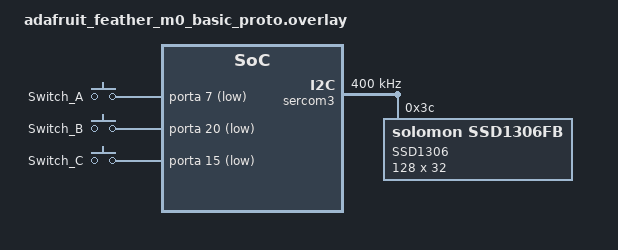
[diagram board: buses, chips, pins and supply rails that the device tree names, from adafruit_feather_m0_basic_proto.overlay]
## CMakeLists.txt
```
# SPDX-License-Identifier: Apache-2.0

cmake_minimum_required(VERSION 3.13.1)

set_property(GLOBAL APPEND PROPERTY HEX_FILES_TO_MERGE
      ${app_provision_hex})

set(BOARD adafruit_feather_m0_basic_proto)

include($ENV{ZEPHYR_BASE}/cmake/app/boilerplate.cmake NO_POLICY_SCOPE)
project(samd21)

include_directories(app PRIVATE inc)

FILE(GLOB app_sources src/*.c)
target_sources(app PRIVATE
  ${app_sources}
  )

# zephyr_compile_options(-save-temps)
```

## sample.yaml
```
sample:
  description: TBD
  name: TBD
```

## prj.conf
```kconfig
CONFIG_DEBUG=y
CONFIG_GPIO=y

CONFIG_HEAP_MEM_POOL_SIZE=4096

CONFIG_BUILD_OUTPUT_HEX=y

CONFIG_ADC=y
CONFIG_ADC_LOG_LEVEL_INF=y
CONFIG_ADC_SAM0=y

CONFIG_I2C=y
CONFIG_I2C_SAM0=y
CONFIG_I2C_INIT_PRIORITY=60
CONFIG_I2C_LOG_LEVEL_INF=y
CONFIG_I2C_SAM0=y

CONFIG_DISPLAY=y
CONFIG_DISPLAY_LOG_LEVEL_INF=y

CONFIG_SSD1306=y
CONFIG_SSD1306_DEFAULT_CONTRAST=128
CONFIG_SSD1306_DEFAULT=y

CONFIG_CHARACTER_FRAMEBUFFER=y
CONFIG_CHARACTER_FRAMEBUFFER_USE_DEFAULT_FONTS=y
CONFIG_CFB_LOG_LEVEL_INF=y

CONFIG_USE_SEGGER_RTT=y
CONFIG_SEGGER_RTT_MAX_NUM_UP_BUFFERS=3
CONFIG_SEGGER_RTT_MAX_NUM_DOWN_BUFFERS=3
CONFIG_SEGGER_RTT_BUFFER_SIZE_UP=1024
CONFIG_SEGGER_RTT_BUFFER_SIZE_DOWN=16
CONFIG_SEGGER_RTT_PRINTF_BUFFER_SIZE=64
CONFIG_SEGGER_RTT_MODE_NO_BLOCK_SKIP=y

CONFIG_LOG=y
CONFIG_LOG_DEFAULT_LEVEL=3
CONFIG_LOG_OVERRIDE_LEVEL=0
CONFIG_LOG_MAX_LEVEL=4
CONFIG_LOG_FUNC_NAME_PREFIX_DBG=y
CONFIG_LOG_PRINTK=y
CONFIG_LOG_PRINTK_MAX_STRING_LENGTH=128
CONFIG_LOG_MODE_OVERFLOW=y
CONFIG_LOG_PROCESS_TRIGGER_THRESHOLD=10
CONFIG_LOG_PROCESS_THREAD=y
CONFIG_LOG_PROCESS_THREAD_SLEEP_MS=1000
CONFIG_LOG_PROCESS_THREAD_STACK_SIZE=768
CONFIG_LOG_BUFFER_SIZE=1024
CONFIG_LOG_DETECT_MISSED_STRDUP=y
CONFIG_LOG_STRDUP_MAX_STRING=32
CONFIG_LOG_STRDUP_BUF_COUNT=4
CONFIG_LOG_DOMAIN_ID=0
CONFIG_LOG_BACKEND_UART=y

CONFIG_LOG_BACKEND_RTT=y
CONFIG_LOG_BACKEND_RTT_MODE_BLOCK=y
CONFIG_LOG_BACKEND_RTT_OUTPUT_BUFFER_SIZE=16
CONFIG_LOG_BACKEND_RTT_RETRY_CNT=4
CONFIG_LOG_BACKEND_RTT_RETRY_DELAY_MS=5
CONFIG_LOG_BACKEND_RTT_BUFFER=0
CONFIG_LOG_BACKEND_SHOW_COLOR=y
CONFIG_LOG_BACKEND_FORMAT_TIMESTAMP=y

CONFIG_LOG_BACKEND_SHOW_COLOR=n
```

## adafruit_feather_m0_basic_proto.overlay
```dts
/* 
 *  adafruit_feather_m0_basic_proto modifications
 */

/ {

    aliases {
        swa  = &sw_a;
        swb  = &sw_b;
        swc  = &sw_c;
    };

    buttons {
        compatible = "gpio-keys";
        sw_a: sw_0 {
            gpios = <&porta 7 (GPIO_PULL_UP | GPIO_ACTIVE_LOW)>;
            label = "Switch_A";
        };
        sw_b: sw_1 {
            gpios = <&porta 20 (GPIO_PULL_UP | GPIO_ACTIVE_LOW)>;
            label = "Switch_B";
        };
        sw_c: sw_2 {
            gpios = <&porta 15 (GPIO_PULL_UP | GPIO_ACTIVE_LOW)>;
            label = "Switch_C";
        };  
    };      
};

&sercom3 {
    status = "okay";
    compatible = "atmel,sam0-i2c";
    clock-frequency = <I2C_BITRATE_FAST>;
    label = "I2C_0";
    #address-cells = <1>;
    #size-cells = <0>;

    ssd1306: ssd1306@3c {
        compatible = "solomon,ssd1306fb";
        reg = <0x3c>;
        label = "SSD1306";
        height = <32>;
        width  = <128>;
        segment-offset  = <0>;
        page-offset     = <0>;
        display-offset  = <0x00>;
        multiplex-ratio = <0x1F>;
        prechargep      = <0xF1>;
        segment-remap;
        com-invdir;
        com-sequential;
    };
};

/*
 *   Override flash0 to exclude boot_partition.
 */

/delete-node/ &boot_partition;
/delete-node/ &code_partition;

&flash0 {
    partitions {
        compatible = "fixed-partitions";
        #address-cells = <1>;
        #size-cells = <1>;

        code_partition: partition@0 {
            label = "code";
            reg = <0x0000 0x3A000>;
            read-only;
        };
    };
};
```

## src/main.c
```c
/* 
 *  main.c - Application main entry point 
 */
#include <zephyr.h>
#include <sys/printk.h>

#include "buttons.h"
#include "display.h"

#include <logging/log.h>
LOG_MODULE_REGISTER(main, 3);

#define STACKSIZE 1024
#define PRIORITY 7

/*---------------------------------------------------------------------------*/
/*                                                                           */
/*---------------------------------------------------------------------------*/
void main_thread(void * id, void * unused1, void * unused2)
{
    LOG_INF("%s", __func__);

    buttons_init();

    display_init();
    display_play();
}

K_THREAD_DEFINE(main_id, STACKSIZE, main_thread, 
                NULL, NULL, NULL, PRIORITY, 0, 0);
```

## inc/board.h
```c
/*
 *  board.h
 */
#ifndef __INC_BOARD_H
#define __INC_BOARD_H

#define EXT_RST_GPIO_PIN     1
#define EXT_AREF_GPIO_PIN    3
#define EXT_GND1_GPIO_PIN    4
#define EXT_A0_GPIO_PIN      5
#define EXT_A1_GPIO_PIN      6
#define EXT_A2_GPIO_PIN      21
#define EXT_A3_GPIO_PIN      8
#define EXT_A4_GPIO_PIN      9
#define EXT_A5_GPIO_PIN     10
#define EXT_SCK_GPIO_PIN    11
#define EXT_MOSI_GPIO_PIN   12
#define EXT_MISO_GPIO_PIN   13
#define EXT_RXD_GPIO_PIN    14
#define EXT_TXD_GPIO_PIN    19
#define EXT_D4_GPIO_PIN     16
#define EXT_SDA_GPIO_PIN    17
#define EXT_SCL_GPIO_PIN    18
#define EXT_D5_GPIO_PIN     15
#define EXT_D6_GPIO_PIN     20
#define EXT_D9_GPIO_PIN     7
#define EXT_D10_GPIO_PIN    22
#define EXT_D11_GPIO_PIN    23
#define EXT_D12_GPIO_PIN    24
#define EXT_D13_GPIO_PIN    25
#define EXT_VUSB_GPIO_PIN   26
#define EXT_EN_GPIO_PIN     27

#define SW_GPIO_NAME        DT_LABEL(DT_ALIAS(port_a))

#endif /* __INC_BOARD_H */
```

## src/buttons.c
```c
/*
 *   buttons.c
 */
#include <zephyr.h>
#include <device.h>
#include <drivers/gpio.h>
#include <sys/util.h>
#include <sys/printk.h>
#include <inttypes.h>

#include "board.h"

#include <logging/log.h>
LOG_MODULE_REGISTER(buttons, 3);

/*---------------------------------------------------------------------------*/
/*                                                                           */
/*---------------------------------------------------------------------------*/

#define SW_A   DT_GPIO_PIN(DT_ALIAS(swa), gpios)
#define SW_B   DT_GPIO_PIN(DT_ALIAS(swb), gpios)
#define SW_C   DT_GPIO_PIN(DT_ALIAS(swc), gpios)

/*---------------------------------------------------------------------------*/
/*                                                                           */
/*---------------------------------------------------------------------------*/

typedef struct {
    uint8_t    id;
    uint8_t    pin;
    uint32_t   bit;
    char  * name;
} button_info_t; 

static const button_info_t button_info [] = {
    { .id = 1, .pin = SW_A, .bit = 0x00000080, .name = "SW_A" },
    { .id = 2, .pin = SW_B, .bit = 0x00100000, .name = "SW_B" },
    { .id = 3, .pin = SW_C, .bit = 0x00008000, .name = "SW_C" },
};
#define BUTTONS_COUNT (sizeof(button_info)/sizeof(button_info_t))

static const button_info_t unknown = {.id=0, .pin=0 , .bit= 0, .name= "???"};

/*---------------------------------------------------------------------------*/
/*                                                                           */
/*---------------------------------------------------------------------------*/
static const struct device * gpiob;
static struct gpio_callback gpio_cb_a;
static struct gpio_callback gpio_cb_b;
static struct gpio_callback gpio_cb_c;

/*---------------------------------------------------------------------------*/
/*                                                                           */
/*---------------------------------------------------------------------------*/
static const button_info_t * button_get_info(uint32_t pins)
{
    for (int i=0; i < BUTTONS_COUNT; i++) {
        if (button_info[i].bit & pins) {
            return &button_info[i];
        }
    }
    return &unknown;
}

/*---------------------------------------------------------------------------*/
/*                                                                           */
/*---------------------------------------------------------------------------*/
void button_event(const struct device * gpiob, struct gpio_callback * cb, uint32_t pins)
{
    static const button_info_t * info;

    info = button_get_info(pins);

    LOG_INF("Button: %s  pin(%d)", info->name, info->pin);
}

/*---------------------------------------------------------------------------*/
/*                                                                           */
/*---------------------------------------------------------------------------*/
void buttons_init(void)
{
    LOG_INF("%s", __func__);

    gpiob = device_get_binding(SW_GPIO_NAME);
    if (!gpiob) {
        LOG_ERR("error");
        return;
    }

    /* Init Button Interrupt */
    int flags = (GPIO_INPUT      |
                 GPIO_ACTIVE_LOW |
                 GPIO_PULL_UP    |
                 GPIO_INT_EDGE);

    gpio_pin_configure(gpiob, SW_A, flags);
    gpio_pin_configure(gpiob, SW_B, flags);
    gpio_pin_configure(gpiob, SW_C, flags);

    gpio_pin_interrupt_configure(gpiob, SW_A, GPIO_INT_EDGE_TO_ACTIVE);
    gpio_pin_interrupt_configure(gpiob, SW_B, GPIO_INT_EDGE_TO_ACTIVE);
    gpio_pin_interrupt_configure(gpiob, SW_C, GPIO_INT_EDGE_TO_ACTIVE);

    gpio_init_callback(&gpio_cb_a, button_event, BIT(SW_A));
    gpio_init_callback(&gpio_cb_b, button_event, BIT(SW_B));
    gpio_init_callback(&gpio_cb_c, button_event, BIT(SW_C));

    gpio_add_callback(gpiob, &gpio_cb_a);
    gpio_add_callback(gpiob, &gpio_cb_b);
    gpio_add_callback(gpiob, &gpio_cb_c);
}
```

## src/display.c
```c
/*
 * Copyright (c) 2018 PHYTEC Messtechnik GmbH
 *
 * SPDX-License-Identifier: Apache-2.0
 */
#include <zephyr.h>
#include <device.h>
#include <display/cfb.h>
#include <stdio.h>

#include <logging/log.h>
LOG_MODULE_REGISTER(display, 3);

#define DISPLAY_DRIVER      DT_LABEL(DT_INST(0, solomon_ssd1306fb))

#define MAX_FONTS  42

#define SELECTED_FONT_INDEX  0

static const struct device * dev;
static uint16_t rows;
static uint8_t ppt;
static uint8_t font_width;
static uint8_t font_height;

/*---------------------------------------------------------------------------*/
/*                                                                           */
/*---------------------------------------------------------------------------*/
void display_play(void) 
{
    if (rows == 0) return;

    while (1) {

        for (int i = 0; i < rows; i++) {
            
            cfb_framebuffer_clear(dev, false);

            if (cfb_print(dev, "0123456789mMgj!\"§$%&/()=", 0, i * ppt)) {
                LOG_ERR("Failed to print a string");
                continue;
            }

            cfb_framebuffer_finalize(dev);
            
            k_sleep(K_MSEC(200));
        }
    }
}

/*---------------------------------------------------------------------------*/
/*                                                                           */
/*---------------------------------------------------------------------------*/
void display_init(void)
{
    dev = device_get_binding(DISPLAY_DRIVER);

    if (dev == NULL) {
        LOG_ERR("Device not found: %s", DISPLAY_DRIVER);
        return;
    }

    if (display_set_pixel_format(dev, PIXEL_FORMAT_MONO10) != 0) {
        LOG_ERR("Failed to set required pixel format");
        return;
    }

    LOG_INF("Initialized %s", DISPLAY_DRIVER);

    if (cfb_framebuffer_init(dev)) {
        LOG_INF("Framebuffer initialization failed!");
        return;
    }

    cfb_framebuffer_clear(dev, true);

    display_blanking_off(dev);

    rows = cfb_get_display_parameter(dev, CFB_DISPLAY_ROWS);
    ppt  = cfb_get_display_parameter(dev, CFB_DISPLAY_PPT);

    for (int idx = 0; idx < MAX_FONTS; idx++) {

        if (cfb_get_font_size(dev, idx, &font_width, &font_height)) {
            break;  // end of font list, so exit loop.
        }

        LOG_INF("index[%d] font width %d, font height %d",
                idx, font_width, font_height);
    }

    cfb_framebuffer_set_font(dev, SELECTED_FONT_INDEX);

    LOG_INF("selected font: index[%d]", SELECTED_FONT_INDEX);

    LOG_INF("x_res %d, y_res %d, ppt %d, rows %d, cols %d",
            cfb_get_display_parameter(dev, CFB_DISPLAY_WIDTH),
            cfb_get_display_parameter(dev, CFB_DISPLAY_HEIGH),
            ppt,
            rows,
            cfb_get_display_parameter(dev, CFB_DISPLAY_COLS));
}
```

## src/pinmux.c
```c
/*
 * Copyright (c) 2018 Henrik Brix Andersen <henrik@brixandersen.dk>
 *
 * SPDX-License-Identifier: Apache-2.0
 */

#include <init.h>
#include <drivers/pinmux.h>
#include <soc.h> 

static int board_pinmux_init2(const struct device *dev)
{
	const struct device *muxa = DEVICE_DT_GET(DT_NODELABEL(pinmux_a));

	ARG_UNUSED(dev);

#if (ATMEL_SAM0_DT_SERCOM_CHECK(3, atmel_sam0_i2c) && CONFIG_I2C_SAM0)
	/* I2C, SCL = PA23, SDA = PA22 */
	pinmux_pin_set(muxa, 22, PINMUX_FUNC_C);
	pinmux_pin_set(muxa, 23, PINMUX_FUNC_C);
#endif

	return 0;
}

SYS_INIT(board_pinmux_init2, PRE_KERNEL_1, CONFIG_PINMUX_INIT_PRIORITY);
```
